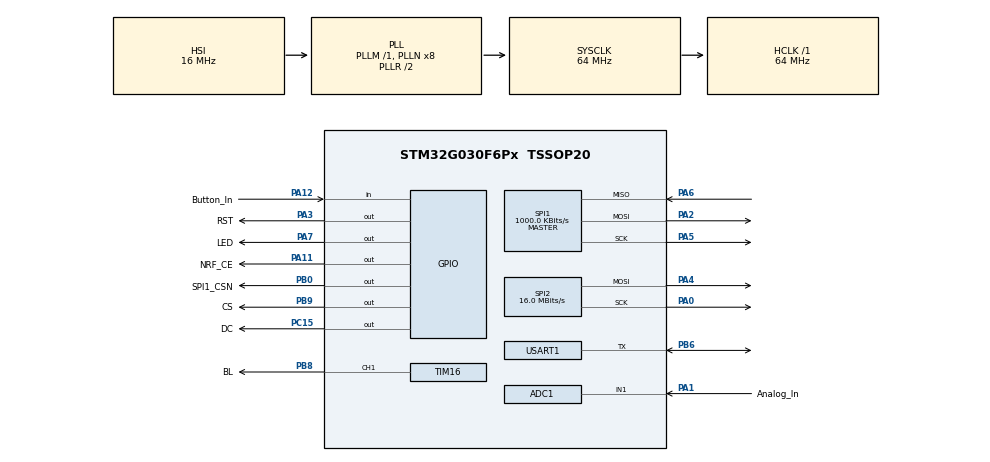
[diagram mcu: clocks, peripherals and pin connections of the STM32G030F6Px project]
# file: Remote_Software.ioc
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ADC1.Channel-1\#ChannelRegularConversion=ADC_CHANNEL_1
ADC1.NbrOfConversionFlag=1
ADC1.Rank-1\#ChannelRegularConversion=1
ADC1.SamplingTime-1\#ChannelRegularConversion=ADC_SAMPLINGTIME_COMMON_1
ADC1.SelectedChannel=ADC_CHANNEL_1
ADC1.master=1
Mcu.Family=STM32G0
Mcu.Name=STM32G030F6Px
Mcu.Package=TSSOP20
PA0.GPIO_Speed=GPIO_SPEED_FREQ_HIGH
PA0.Mode=TX_Only_Simplex_Unidirect_Master
PA0.Signal=SPI2_SCK
PA1.GPIO_Label=Analog_In
PA1.Mode=IN1
PA1.Signal=ADC1_IN1
PA11\ [PA9].GPIO_Label=NRF_CE
PA11\ [PA9].Signal=GPIO_Output
PA12\ [PA10].GPIO_Label=Button_In
PA12\ [PA10].Signal=GPIO_Input
PA13.Mode=Serial_Wire
PA13.Signal=SYS_SWDIO
PA14-BOOT0.Mode=Serial_Wire
PA14-BOOT0.Signal=SYS_SWCLK
PA14-BOOT0__PA15.StandardMode=true
PA2.Mode=Full_Duplex_Master
PA2.Signal=SPI1_MOSI
PA3.GPIO_Label=RST
PA3.Signal=GPIO_Output
PA4.GPIO_Speed=GPIO_SPEED_FREQ_HIGH
PA4.Mode=TX_Only_Simplex_Unidirect_Master
PA4.Signal=SPI2_MOSI
PA5.Mode=Full_Duplex_Master
PA5.Signal=SPI1_SCK
PA6.Mode=Full_Duplex_Master
PA6.Signal=SPI1_MISO
PA7.GPIO_Label=LED
PA7.Signal=GPIO_Output
PB0.GPIO_Label=SPI1_CSN
PB0.Signal=GPIO_Output
PB0__PB1__PB2__PA8.StandardMode=true
PB3__PB4__PB5__PB6.StandardMode=true
PB6.Mode=Half_duplex(single_wire_mode)
PB6.Signal=USART1_TX
PB7__PB8.StandardMode=true
PB8.GPIO_Label=BL
PB8.Signal=S_TIM16_CH1
PB9.GPIO_Label=CS
PB9.Signal=GPIO_Output
PC14-OSC32_IN\ (PC14)__PB9.StandardMode=true
PC15-OSC32_OUT\ (PC15).GPIO_Label=DC
PC15-OSC32_OUT\ (PC15).Signal=GPIO_Output
ProjectManager.HeapSize=0x200
ProjectManager.StackSize=0x400
ProjectManager.TargetToolchain=STM32CubeIDE
RCC.ADCFreq_Value=64000000
RCC.AHBFreq_Value=64000000
RCC.CortexFreq_Value=64000000
RCC.EXTERNAL_CLOCK_VALUE=12288000
RCC.HCLKFreq_Value=64000000
RCC.HSE_VALUE=8000000
RCC.HSI_VALUE=16000000
RCC.LSE_VALUE=32768
RCC.SYSCLKFreq_VALUE=64000000
RCC.SYSCLKSource=RCC_SYSCLKSOURCE_PLLCLK
RCC.VCOOutputFreq_Value=128000000
SH.S_TIM16_CH1.0=TIM16_CH1,PWM Generation1 CH1
SPI1.BaudRatePrescaler=SPI_BAUDRATEPRESCALER_64
SPI1.CalculateBaudRate=1000.0 KBits/s
SPI1.Direction=SPI_DIRECTION_2LINES
SPI1.Mode=SPI_MODE_MASTER
SPI1.VirtualType=VM_MASTER
SPI2.BaudRatePrescaler=SPI_BAUDRATEPRESCALER_4
SPI2.CalculateBaudRate=16.0 MBits/s
SPI2.Direction=SPI_DIRECTION_2LINES
SPI2.Mode=SPI_MODE_MASTER
SPI2.NSSPMode=SPI_NSS_PULSE_DISABLE
SPI2.VirtualType=VM_MASTER
TIM16.AutoReloadPreload=TIM_AUTORELOAD_PRELOAD_ENABLE
TIM16.Channel=TIM_CHANNEL_1
TIM16.Period=1000-1
TIM16.Prescaler=300-1
USART1.VirtualMode-Half_duplex(single_wire_mode)=VM_ASYNC
VP_TIM16_VS_ClockSourceINT.Mode=Enable_Timer
board=custom

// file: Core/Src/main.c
/* USER CODE BEGIN Header */
//#define NRF24L01P_CMD_R_REGISTER                  0b00000000
//#define NRF24L01P_CMD_W_REGISTER                  0b00100000
/**
  ******************************************************************************
  * @file           : main.c
  * @brief          : Main program body
  ******************************************************************************
  * @attention
  *
  * Copyright (c) 2024 STMicroelectronics.
  * All rights reserved.
  *
  * This software is licensed under terms that can be found in the LICENSE file
  * in the root directory of this software component.
  * If no LICENSE file comes with this software, it is provided AS-IS.
  *
  ******************************************************************************
  */
/* USER CODE END Header */
#include "main.h"
#include "adc.h"
#include "spi.h"
#include "tim.h"
#include "usart.h"
#include "gpio.h"

/* USER CODE BEGIN Includes */
#include "GUI_Paint.h"
#include "fonts.h"
#include "LCD_Test.h"
#include "LCD_1in28.h"
#include "stm32g0xx_hal_flash.h"
//#include "NRF24L01.h"

/* USER CODE END Includes */

void SystemClock_Config(void);

/* USER CODE BEGIN 0 */

//void read_register_multi (uint8_t reg, uint8_t *data, int size){
//
//    uint8_t command = NRF24L01P_CMD_R_REGISTER | reg;
//    uint8_t status;
//    HAL_GPIO_WritePin(SPI1_CSN_GPIO_Port, SPI1_CSN_Pin, GPIO_PIN_SET);
//    HAL_GPIO_WritePin(SPI1_CSN_GPIO_Port, SPI1_CSN_Pin, GPIO_PIN_RESET);
//    HAL_SPI_TransmitReceive(&hspi1, &command, &status, 1, 2000);
//    for(int i = 0; i<size; i++)
//    	HAL_SPI_Receive(&hspi1, &data[i], 1, 2000);
//    HAL_GPIO_WritePin(SPI1_CSN_GPIO_Port, SPI1_CSN_Pin, GPIO_PIN_SET);
//}
//void write_register(uint8_t reg)
//{
//
//
//	uint8_t TX_addr[] = {0xEE, 0xDD, 0xCC, 0xBB, 0xAA};
//    uint8_t command = NRF24L01P_CMD_W_REGISTER | reg;
//    uint8_t status;
//    //uint8_t write_val = value;
//    HAL_GPIO_WritePin(SPI1_CSN_GPIO_Port, SPI1_CSN_Pin, GPIO_PIN_RESET);
//    HAL_SPI_TransmitReceive(&hspi1, &command, &status, 1, 2000);
//    for (int i = 0; i <5; i++)
//    	HAL_SPI_Transmit(&hspi1, &TX_addr[i], 1, 2000);
//    HAL_GPIO_WritePin(SPI1_CSN_GPIO_Port, SPI1_CSN_Pin, GPIO_PIN_SET);
//    //return write_val;
//}

/* USER CODE END 0 */

int main(void)
{

  /* MCU Configuration--------------------------------------------------------*/

  /* Reset of all peripherals, Initializes the Flash interface and the Systick. */
  HAL_Init();

  /* Configure the system clock */
  SystemClock_Config();

  /* Initialize all configured peripherals */
  MX_GPIO_Init();
  MX_ADC1_Init();
  MX_SPI1_Init();
  MX_SPI2_Init();
  MX_USART1_UART_Init();
  MX_TIM16_Init();
  /* USER CODE BEGIN 2 */

  int32_t counter = 0;
  int32_t raw = 0;
//  uint8_t TX_addr[] = {0xEE, 0xDD, 0xCC, 0xBB, 0xAA};
//  uint8_t TX_data[] = "Hello\n";
//  uint8_t data[5] ={0};
//  HAL_GPIO_WritePin(LED_GPIO_Port, LED_Pin, GPIO_PIN_RESET);

  //write_register(0x10);
//  read_register_multi(0x10, data, 5);
//  if(data[0] == 0xE7)
//	  HAL_GPIO_WritePin(LED_GPIO_Port, LED_Pin, GPIO_PIN_SET);
//
//
//  nrf_init();
//  nrf_tx_mode(TX_addr, 10);

  	DEV_Module_Init();

  	LCD_1IN28_SetBackLight(1000);
  	LCD_1IN28_Init(VERTICAL);
   	//LCD_1IN28_Clear(BLACK);

  	Paint_NewImage(LCD_1IN28_WIDTH,LCD_1IN28_HEIGHT, 0, BLACK);

  	Paint_SetClearFuntion(LCD_1IN28_Clear);
  	Paint_SetDisplayFuntion(LCD_1IN28_DrawPaint);
  	Paint_DrawString_EN(70, 100, "LOADING...", &Font16, BLACK, DARKORANGE);

  	Paint_Clear(WHITE);
  	DEV_Delay_ms(100);

  	Paint_DrawRectangle(115, 115, 136, 141, DARKRED, 2, 0);
	  Paint_DrawNum(120, 120, counter, &Font16, DARKBLUE, DARKGREEN);

  /* USER CODE END 2 */

  /* Infinite loop */
  /* USER CODE BEGIN WHILE */
  while (1)
  {

	  HAL_ADC_Start(&hadc1);
  	  HAL_ADC_PollForConversion(&hadc1, HAL_MAX_DELAY);
      raw = HAL_ADC_GetValue(&hadc1);
	  counter++;
	  Paint_ClearWindows(120, 100, 164, 116, BLACK);
	  Paint_DrawNum(120, 100, raw, &Font16, DARKBLUE, DARKGREEN);
	  Paint_DrawNum(120, 120, counter, &Font16, DARKBLUE, DARKGREEN);
	  HAL_Delay(250);

    /* USER CODE END WHILE */

  }
}

void SystemClock_Config(void)
{
  RCC_OscInitTypeDef RCC_OscInitStruct = {0};
  RCC_ClkInitTypeDef RCC_ClkInitStruct = {0};

  /** Configure the main internal regulator output voltage
  */
  HAL_PWREx_ControlVoltageScaling(PWR_REGULATOR_VOLTAGE_SCALE1);

  /** Initializes the RCC Oscillators according to the specified parameters
  * in the RCC_OscInitTypeDef structure.
  */
  RCC_OscInitStruct.OscillatorType = RCC_OSCILLATORTYPE_HSI;
  RCC_OscInitStruct.HSIState = RCC_HSI_ON;
  RCC_OscInitStruct.HSIDiv = RCC_HSI_DIV1;
  RCC_OscInitStruct.HSICalibrationValue = RCC_HSICALIBRATION_DEFAULT;
  RCC_OscInitStruct.PLL.PLLState = RCC_PLL_ON;
  RCC_OscInitStruct.PLL.PLLSource = RCC_PLLSOURCE_HSI;
  RCC_OscInitStruct.PLL.PLLM = RCC_PLLM_DIV1;
  RCC_OscInitStruct.PLL.PLLN = 8;
  RCC_OscInitStruct.PLL.PLLP = RCC_PLLP_DIV2;
  RCC_OscInitStruct.PLL.PLLR = RCC_PLLR_DIV2;
  if (HAL_RCC_OscConfig(&RCC_OscInitStruct) != HAL_OK)
  {
    Error_Handler();
  }

  /** Initializes the CPU, AHB and APB buses clocks
  */
  RCC_ClkInitStruct.ClockType = RCC_CLOCKTYPE_HCLK|RCC_CLOCKTYPE_SYSCLK
                              |RCC_CLOCKTYPE_PCLK1;
  RCC_ClkInitStruct.SYSCLKSource = RCC_SYSCLKSOURCE_PLLCLK;
  RCC_ClkInitStruct.AHBCLKDivider = RCC_SYSCLK_DIV1;
  RCC_ClkInitStruct.APB1CLKDivider = RCC_HCLK_DIV1;

  if (HAL_RCC_ClockConfig(&RCC_ClkInitStruct, FLASH_LATENCY_2) != HAL_OK)
  {
    Error_Handler();
  }
}

void Error_Handler(void)
{
  __disable_irq();
  while (1)
  {
  }
}
